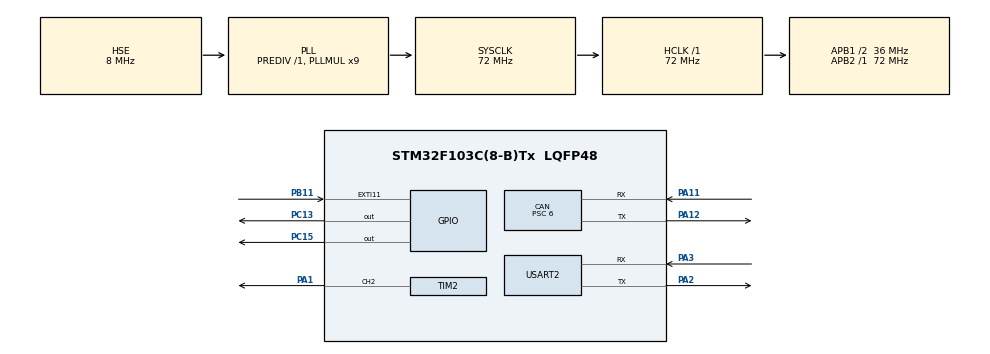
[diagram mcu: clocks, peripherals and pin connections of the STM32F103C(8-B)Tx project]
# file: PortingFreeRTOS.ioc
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CAN.BS1=CAN_BS1_13TQ
CAN.BS2=CAN_BS2_2TQ
CAN.CalculateBaudRate=374999
CAN.CalculateTimeBit=2666
CAN.CalculateTimeQuantum=166.66666666666669
CAN.Prescaler=6
Mcu.Family=STM32F1
Mcu.Name=STM32F103C(8-B)Tx
Mcu.Package=LQFP48
NVIC.EXTI15_10_IRQn=true\:6\:0\:true\:false\:true\:true\:true\:true
NVIC.PriorityGroup=NVIC_PRIORITYGROUP_4
NVIC.TIM1_UP_IRQn=true\:15\:0\:false\:false\:true\:false\:true\:true
NVIC.TimeBase=TIM1_UP_IRQn
NVIC.TimeBaseIP=TIM1
NVIC.USB_LP_CAN1_RX0_IRQn=true\:6\:0\:true\:false\:true\:true\:true\:true
PA1.Signal=S_TIM2_CH2
PA11.Mode=CAN_Activate
PA11.Signal=CAN_RX
PA12.Mode=CAN_Activate
PA12.Signal=CAN_TX
PA13.Mode=Serial_Wire
PA13.Signal=SYS_JTMS-SWDIO
PA14.Mode=Serial_Wire
PA14.Signal=SYS_JTCK-SWCLK
PA2.Mode=Asynchronous
PA2.Signal=USART2_TX
PA3.Mode=Asynchronous
PA3.Signal=USART2_RX
PB11.GPIO_ModeDefaultEXTI=GPIO_MODE_IT_FALLING
PB11.GPIO_PuPd=GPIO_PULLUP
PB11.Signal=GPXTI11
PC13-TAMPER-RTC.Signal=GPIO_Output
PC15-OSC32_OUT.Signal=GPIO_Output
PD0-OSC_IN.Mode=HSE-External-Oscillator
PD0-OSC_IN.Signal=RCC_OSC_IN
PD1-OSC_OUT.Mode=HSE-External-Oscillator
PD1-OSC_OUT.Signal=RCC_OSC_OUT
ProjectManager.HeapSize=0x200
ProjectManager.StackSize=0x400
ProjectManager.TargetToolchain=CMake
RCC.AHBFreq_Value=72000000
RCC.APB1CLKDivider=RCC_HCLK_DIV2
RCC.APB1Freq_Value=36000000
RCC.APB1TimFreq_Value=72000000
RCC.APB2Freq_Value=72000000
RCC.APB2TimFreq_Value=72000000
RCC.HCLKFreq_Value=72000000
RCC.PLLMUL=RCC_PLL_MUL9
RCC.PLLSourceVirtual=RCC_PLLSOURCE_HSE
RCC.SYSCLKFreq_VALUE=72000000
RCC.SYSCLKSource=RCC_SYSCLKSOURCE_PLLCLK
RCC.USBFreq_Value=72000000
SH.S_TIM2_CH2.0=TIM2_CH2,PWM Generation2 CH2
TIM2.AutoReloadPreload=TIM_AUTORELOAD_PRELOAD_ENABLE
TIM2.Channel-PWM\ Generation2\ CH2=TIM_CHANNEL_2
TIM2.Period=19999
TIM2.Prescaler=71
TIM2.Pulse-PWM\ Generation2\ CH2=1500
USART2.VirtualMode=VM_ASYNC
VP_SYS_VS_tim1.Mode=TIM1
VP_TIM2_VS_ClockSourceINT.Mode=Internal
board=custom

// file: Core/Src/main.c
/* USER CODE BEGIN Header */
/**
  ******************************************************************************
  * @file           : main.c
  * @brief          : Main program body
  ******************************************************************************
  * @attention
  *
  * Copyright (c) 2025 STMicroelectronics.
  * All rights reserved.
  *
  * This software is licensed under terms that can be found in the LICENSE file
  * in the root directory of this software component.
  * If no LICENSE file comes with this software, it is provided AS-IS.
  *
  ******************************************************************************
  */
/* USER CODE END Header */
#include "main.h"

CAN_HandleTypeDef hcan;

TIM_HandleTypeDef htim2;

UART_HandleTypeDef huart2;

/* USER CODE BEGIN PV */

//static TaskHandle_t Main_xLedTaskHandle = NULL;
//static TaskHandle_t Main_xSwitchTaskHandle = NULL;
static TaskHandle_t Main_xServoTaskHandle = NULL;
/* USER CODE END PV */

void SystemClock_Config(void);
static void MX_GPIO_Init(void);
static void MX_CAN_Init(void);
static void MX_TIM2_Init(void);
static void MX_USART2_UART_Init(void);

void CAN_Init_Filter(void)
{
  CAN_FilterTypeDef sFilterConfig;
  sFilterConfig.FilterBank = 0;
  sFilterConfig.FilterMode = CAN_FILTERMODE_IDMASK;
  sFilterConfig.FilterScale = CAN_FILTERSCALE_32BIT;
  sFilterConfig.FilterIdHigh = 0x123 << 5;  // Standard ID left-aligned in 32-bit register
  sFilterConfig.FilterIdLow = 0x0000;
  sFilterConfig.FilterMaskIdHigh = 0x1FFF << 5;  // Check all 11 bits of STD ID
  sFilterConfig.FilterMaskIdLow = 0x0000;
  sFilterConfig.FilterFIFOAssignment = CAN_FILTER_FIFO0;
  sFilterConfig.FilterActivation = ENABLE;
  sFilterConfig.SlaveStartFilterBank = 14;

  if (HAL_CAN_ConfigFilter(&hcan, &sFilterConfig) != HAL_OK)
  {
    Error_Handler();
  }
}
/* USER CODE BEGIN PFP */

//void Main_vLedTask(void *Copy_pvParams);
//void Main_vSwitchTask(void *Copy_pvParams);
void Main_vServoTask(void *Copy_pvParams);
/* USER CODE END PFP */

int main(void)
{

  /* USER CODE BEGIN 1 */
  BaseType_t Loc_xTaskStatus = pdFAIL;

  /* USER CODE END 1 */

  /* MCU Configuration--------------------------------------------------------*/

  /* Reset of all peripherals, Initializes the Flash interface and the Systick. */
  HAL_Init();

  /* Configure the system clock */
  SystemClock_Config();

  /* Initialize all configured peripherals */
  MX_GPIO_Init();
   HAL_NVIC_SetPriority(CAN1_RX0_IRQn, 6, 0);
  HAL_NVIC_EnableIRQ(CAN1_RX0_IRQn);
  MX_CAN_Init();
  MX_TIM2_Init();
  MX_USART2_UART_Init();
  CAN_Init_Filter();
  HAL_CAN_Start(&hcan);
  HAL_CAN_ActivateNotification(&hcan, CAN_IT_RX_FIFO0_MSG_PENDING);
  HAL_UART_Transmit(&huart2, (uint8_t*)"CAN RX Ready\r\n", 14, HAL_MAX_DELAY);
  HAL_TIM_PWM_Start(&htim2, TIM_CHANNEL_2);

  /* USER CODE BEGIN 2 */
   // Loc_xTaskStatus = xTaskCreate(&Main_vLedTask, "LedTask", 100UL, NULL, 1UL, &Main_xLedTaskHandle);
   // configASSERT(Loc_xTaskStatus == pdPASS);

   // Loc_xTaskStatus = xTaskCreate(&Main_vSwitchTask, "SwitchTask", 100UL, NULL, 0UL, &Main_xSwitchTaskHandle);
  //configASSERT(Loc_xTaskStatus == pdPASS);
   Loc_xTaskStatus = xTaskCreate(&Main_vServoTask, "ServoTask", 100UL, NULL, 1UL, &Main_xServoTaskHandle);
   configASSERT(Loc_xTaskStatus == pdPASS);
  vTaskStartScheduler();

  /* USER CODE END 2 */

  /* Infinite loop */
  while (1)
  {

  }
}

void SystemClock_Config(void)
{
  RCC_OscInitTypeDef RCC_OscInitStruct = {0};
  RCC_ClkInitTypeDef RCC_ClkInitStruct = {0};

  /** Initializes the RCC Oscillators according to the specified parameters
  * in the RCC_OscInitTypeDef structure.
  */
  RCC_OscInitStruct.OscillatorType = RCC_OSCILLATORTYPE_HSE;
  RCC_OscInitStruct.HSEState = RCC_HSE_ON;
  RCC_OscInitStruct.HSEPredivValue = RCC_HSE_PREDIV_DIV1;
  RCC_OscInitStruct.HSIState = RCC_HSI_ON;
  RCC_OscInitStruct.PLL.PLLState = RCC_PLL_ON;
  RCC_OscInitStruct.PLL.PLLSource = RCC_PLLSOURCE_HSE;
  RCC_OscInitStruct.PLL.PLLMUL = RCC_PLL_MUL9;
  if (HAL_RCC_OscConfig(&RCC_OscInitStruct) != HAL_OK)
  {
    Error_Handler();
  }

  /** Initializes the CPU, AHB and APB buses clocks
  */
  RCC_ClkInitStruct.ClockType = RCC_CLOCKTYPE_HCLK|RCC_CLOCKTYPE_SYSCLK
                              |RCC_CLOCKTYPE_PCLK1|RCC_CLOCKTYPE_PCLK2;
  RCC_ClkInitStruct.SYSCLKSource = RCC_SYSCLKSOURCE_PLLCLK;
  RCC_ClkInitStruct.AHBCLKDivider = RCC_SYSCLK_DIV1;
  RCC_ClkInitStruct.APB1CLKDivider = RCC_HCLK_DIV2;
  RCC_ClkInitStruct.APB2CLKDivider = RCC_HCLK_DIV1;

  if (HAL_RCC_ClockConfig(&RCC_ClkInitStruct, FLASH_LATENCY_2) != HAL_OK)
  {
    Error_Handler();
  }
}

static void MX_CAN_Init(void)
{

  hcan.Instance = CAN1;
  hcan.Init.Prescaler = 6;
  hcan.Init.Mode = CAN_MODE_NORMAL;
  hcan.Init.SyncJumpWidth = CAN_SJW_1TQ;
  hcan.Init.TimeSeg1 = CAN_BS1_13TQ;
  hcan.Init.TimeSeg2 = CAN_BS2_2TQ;
  hcan.Init.TimeTriggeredMode = DISABLE;
  hcan.Init.AutoBusOff = DISABLE;
  hcan.Init.AutoWakeUp = DISABLE;
  hcan.Init.AutoRetransmission = DISABLE;
  hcan.Init.ReceiveFifoLocked = DISABLE;
  hcan.Init.TransmitFifoPriority = DISABLE;
  if (HAL_CAN_Init(&hcan) != HAL_OK)
  {
    Error_Handler();
  }

}

static void MX_TIM2_Init(void)
{

  TIM_ClockConfigTypeDef sClockSourceConfig = {0};
  TIM_MasterConfigTypeDef sMasterConfig = {0};
  TIM_OC_InitTypeDef sConfigOC = {0};

  htim2.Instance = TIM2;
  htim2.Init.Prescaler = 71;
  htim2.Init.CounterMode = TIM_COUNTERMODE_UP;
  htim2.Init.Period = 19999;
  htim2.Init.ClockDivision = TIM_CLOCKDIVISION_DIV1;
  htim2.Init.AutoReloadPreload = TIM_AUTORELOAD_PRELOAD_ENABLE;
  if (HAL_TIM_Base_Init(&htim2) != HAL_OK)
  {
    Error_Handler();
  }
  sClockSourceConfig.ClockSource = TIM_CLOCKSOURCE_INTERNAL;
  if (HAL_TIM_ConfigClockSource(&htim2, &sClockSourceConfig) != HAL_OK)
  {
    Error_Handler();
  }
  if (HAL_TIM_PWM_Init(&htim2) != HAL_OK)
  {
    Error_Handler();
  }
  sMasterConfig.MasterOutputTrigger = TIM_TRGO_RESET;
  sMasterConfig.MasterSlaveMode = TIM_MASTERSLAVEMODE_DISABLE;
  if (HAL_TIMEx_MasterConfigSynchronization(&htim2, &sMasterConfig) != HAL_OK)
  {
    Error_Handler();
  }
  sConfigOC.OCMode = TIM_OCMODE_PWM1;
  sConfigOC.Pulse = 1500;
  sConfigOC.OCPolarity = TIM_OCPOLARITY_HIGH;
  sConfigOC.OCFastMode = TIM_OCFAST_DISABLE;
  if (HAL_TIM_PWM_ConfigChannel(&htim2, &sConfigOC, TIM_CHANNEL_2) != HAL_OK)
  {
    Error_Handler();
  }
  HAL_TIM_MspPostInit(&htim2);

}

static void MX_USART2_UART_Init(void)
{

  huart2.Instance = USART2;
  huart2.Init.BaudRate = 115200;
  huart2.Init.WordLength = UART_WORDLENGTH_8B;
  huart2.Init.StopBits = UART_STOPBITS_1;
  huart2.Init.Parity = UART_PARITY_NONE;
  huart2.Init.Mode = UART_MODE_TX_RX;
  huart2.Init.HwFlowCtl = UART_HWCONTROL_NONE;
  huart2.Init.OverSampling = UART_OVERSAMPLING_16;
  if (HAL_UART_Init(&huart2) != HAL_OK)
  {
    Error_Handler();
  }

}

static void MX_GPIO_Init(void)
{
  GPIO_InitTypeDef GPIO_InitStruct = {0};

  /* GPIO Ports Clock Enable */
  __HAL_RCC_GPIOC_CLK_ENABLE();
  __HAL_RCC_GPIOD_CLK_ENABLE();
  __HAL_RCC_GPIOA_CLK_ENABLE();
  __HAL_RCC_GPIOB_CLK_ENABLE();

  /*Configure GPIO pin Output Level */
  HAL_GPIO_WritePin(GPIOC, GPIO_PIN_13|GPIO_PIN_15, GPIO_PIN_RESET);

  /*Configure GPIO pins : PC13 PC15 */
  GPIO_InitStruct.Pin = GPIO_PIN_13|GPIO_PIN_15;
  GPIO_InitStruct.Mode = GPIO_MODE_OUTPUT_PP;
  GPIO_InitStruct.Pull = GPIO_NOPULL;
  GPIO_InitStruct.Speed = GPIO_SPEED_FREQ_LOW;
  HAL_GPIO_Init(GPIOC, &GPIO_InitStruct);

  /*Configure GPIO pin : PB11 */
  GPIO_InitStruct.Pin = GPIO_PIN_11;
  GPIO_InitStruct.Mode = GPIO_MODE_IT_FALLING;
  GPIO_InitStruct.Pull = GPIO_PULLUP;
  HAL_GPIO_Init(GPIOB, &GPIO_InitStruct);

  /* EXTI interrupt init*/
  HAL_NVIC_SetPriority(EXTI15_10_IRQn, 6, 0);
  HAL_NVIC_EnableIRQ(EXTI15_10_IRQn);

}

/* USER CODE BEGIN 4 */
void Main_vServoTask(void *Copy_pvParams)
{
  uint32_t Loc_u32ServoAngle = 90;  // Default angle

  for (;;)
  {
    // Wait for angle notification from ISR
    (void)xTaskNotifyWait(0UL, 0UL, &Loc_u32ServoAngle, portMAX_DELAY);

    // Map 0–180° to 500–2500us pulse width
    uint16_t Loc_u16Pulse = (Loc_u32ServoAngle * 10) / 9 + 500;

    // Update PWM duty cycle
    __HAL_TIM_SET_COMPARE(&htim2, TIM_CHANNEL_2, Loc_u16Pulse);
  }
}
/*void Main_vLedTask(void *Copy_pvParams)
{
  TickType_t Loc_xLastWakeTime;
  const TickType_t Loc_xPeriodicity = pdMS_TO_TICKS(500);

  Loc_xLastWakeTime = xTaskGetTickCount();

  for ( ;; )
  {
    HAL_GPIO_TogglePin(GPIOC, GPIO_PIN_13);
    vTaskDelayUntil(&Loc_xLastWakeTime, Loc_xPeriodicity);
  }
}*/

/*void Main_vSwitchTask(void *Copy_pvParams)
{
  uint32_t Loc_u32SwitchState = (uint32_t)GPIO_PIN_RESET;

  for ( ;; )
  {
    (void) xTaskNotifyWait(0UL, 0UL, &Loc_u32SwitchState, portMAX_DELAY);

    HAL_GPIO_WritePin(GPIOC, GPIO_PIN_15, Loc_u32SwitchState);
  }
}*/

/*void HAL_GPIO_EXTI_Callback(uint16_t GPIO_Pin)
{
  static GPIO_PinState Main_u8SwitchState = GPIO_PIN_SET;

  if (GPIO_PIN_11 == GPIO_Pin)
  {
    Main_u8SwitchState ^= 1U;
    xTaskNotifyFromISR(Main_xSwitchTaskHandle, Main_u8SwitchState, eSetValueWithoutOverwrite, NULL);
  }
}*/
extern TaskHandle_t Main_xServoTaskHandle;

void HAL_CAN_RxFifo0MsgPendingCallback(CAN_HandleTypeDef *hcan)
{
  CAN_RxHeaderTypeDef RxHeader;
  uint8_t RxData[8];

  if (HAL_CAN_GetRxMessage(hcan, CAN_RX_FIFO0, &RxHeader, RxData) == HAL_OK)
  {
    uint8_t angle = (RxData[0] - '0') * 100 + (RxData[1] - '0') * 10 + (RxData[2] - '0');
    xTaskNotifyFromISR(Main_xServoTaskHandle, angle, eSetValueWithoutOverwrite, NULL);
  }
}

/* USER CODE END 4 */

void HAL_TIM_PeriodElapsedCallback(TIM_HandleTypeDef *htim)
{
  if (htim->Instance == TIM1)
  {
    HAL_IncTick();
  }
}

void Error_Handler(void)
{
  __disable_irq();
  while (1)
  {
  }
}
